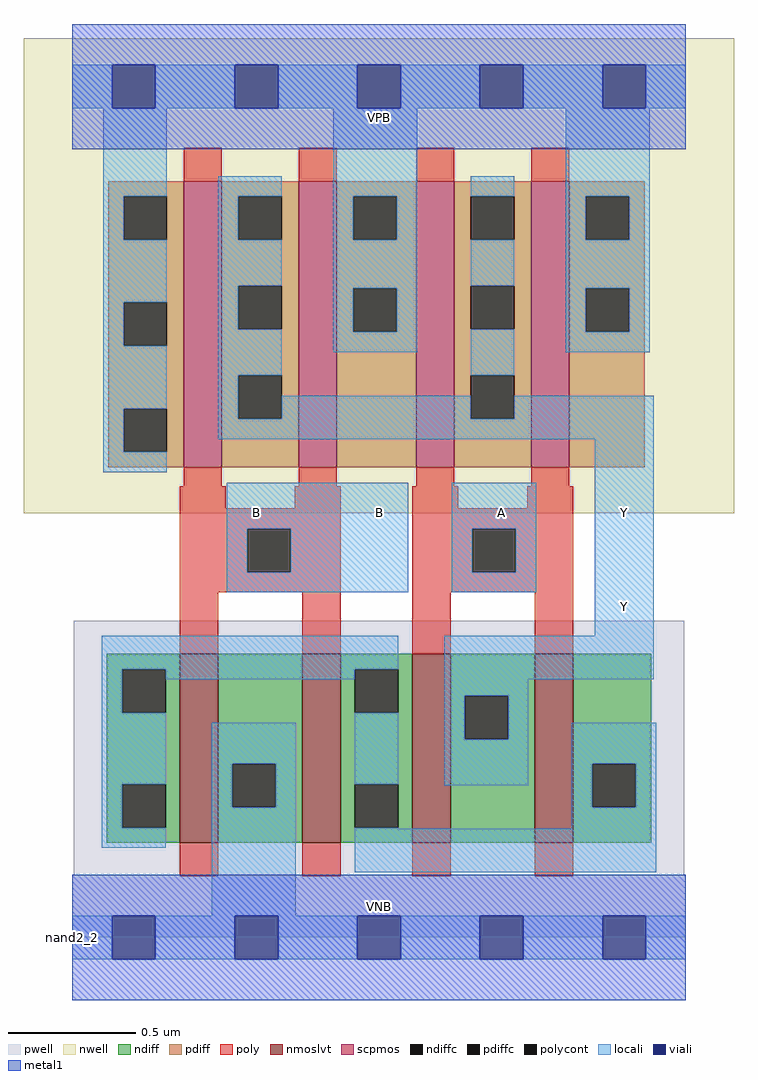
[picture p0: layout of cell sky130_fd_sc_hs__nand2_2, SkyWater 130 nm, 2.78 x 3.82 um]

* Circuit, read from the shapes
.subckt sky130_fd_sc_hs__nand2_2 A B VGND VNB VPB VPWR Y
XM1 VGND B n1 VNB sky130_fd_pr__nfet_01v8_lvt w=0.74 l=0.15 m=2
XM2 Y A n1 VNB sky130_fd_pr__nfet_01v8_lvt w=0.74 l=0.15 m=2
XM3 Y B VPWR VPB sky130_fd_pr__pfet_01v8 w=1.12 l=0.15 m=2
XM4 Y A VPWR VPB sky130_fd_pr__pfet_01v8 w=1.12 l=0.15 m=2
.ends

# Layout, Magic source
magic
tech sky130A
magscale 1 2
<< nwell >>
rect -38 332 518 704
<< pwell >>
rect 1 49 479 248
rect 0 0 480 49
<< scpmos >>
rect 87 368 117 592
rect 177 368 207 592
rect 269 368 299 592
rect 359 368 389 592
<< nmoslvt >>
rect 84 74 114 222
rect 180 74 210 222
rect 266 74 296 222
rect 362 74 392 222
<< ndiff >>
rect 27 210 84 222
rect 27 176 39 210
rect 73 176 84 210
rect 27 120 84 176
rect 27 86 39 120
rect 73 86 84 120
rect 27 74 84 86
rect 114 136 180 222
rect 114 102 125 136
rect 159 102 180 136
rect 114 74 180 102
rect 210 210 266 222
rect 210 176 221 210
rect 255 176 266 210
rect 210 120 266 176
rect 210 86 221 120
rect 255 86 266 120
rect 210 74 266 86
rect 296 189 362 222
rect 296 155 307 189
rect 341 155 362 189
rect 296 74 362 155
rect 392 136 453 222
rect 392 102 407 136
rect 441 102 453 136
rect 392 74 453 102
<< pdiff >>
rect 28 580 87 592
rect 28 546 40 580
rect 74 546 87 580
rect 28 497 87 546
rect 28 463 40 497
rect 74 463 87 497
rect 28 414 87 463
rect 28 380 40 414
rect 74 380 87 414
rect 28 368 87 380
rect 117 580 177 592
rect 117 546 130 580
rect 164 546 177 580
rect 117 510 177 546
rect 117 476 130 510
rect 164 476 177 510
rect 117 440 177 476
rect 117 406 130 440
rect 164 406 177 440
rect 117 368 177 406
rect 207 580 269 592
rect 207 546 220 580
rect 254 546 269 580
rect 207 508 269 546
rect 207 474 220 508
rect 254 474 269 508
rect 207 368 269 474
rect 299 580 359 592
rect 299 546 312 580
rect 346 546 359 580
rect 299 510 359 546
rect 299 476 312 510
rect 346 476 359 510
rect 299 440 359 476
rect 299 406 312 440
rect 346 406 359 440
rect 299 368 359 406
rect 389 580 448 592
rect 389 546 402 580
rect 436 546 448 580
rect 389 508 448 546
rect 389 474 402 508
rect 436 474 448 508
rect 389 368 448 474
<< ndiffc >>
rect 39 176 73 210
rect 39 86 73 120
rect 125 102 159 136
rect 221 176 255 210
rect 221 86 255 120
rect 307 155 341 189
rect 407 102 441 136
<< pdiffc >>
rect 40 546 74 580
rect 40 463 74 497
rect 40 380 74 414
rect 130 546 164 580
rect 130 476 164 510
rect 130 406 164 440
rect 220 546 254 580
rect 220 474 254 508
rect 312 546 346 580
rect 312 476 346 510
rect 312 406 346 440
rect 402 546 436 580
rect 402 474 436 508
<< poly >>
rect 87 592 117 618
rect 177 592 207 618
rect 269 592 299 618
rect 359 592 389 618
rect 87 353 117 368
rect 177 353 207 368
rect 269 353 299 368
rect 359 353 389 368
rect 84 336 120 353
rect 174 336 210 353
rect 84 320 210 336
rect 84 286 137 320
rect 171 286 210 320
rect 84 270 210 286
rect 84 222 114 270
rect 180 222 210 270
rect 266 336 302 353
rect 356 336 392 353
rect 266 320 392 336
rect 266 286 313 320
rect 347 286 392 320
rect 266 270 392 286
rect 266 222 296 270
rect 362 222 392 270
rect 84 48 114 74
rect 180 48 210 74
rect 266 48 296 74
rect 362 48 392 74
<< polycont >>
rect 137 286 171 320
rect 313 286 347 320
<< locali >>
rect 0 649 31 683
rect 65 649 127 683
rect 161 649 223 683
rect 257 649 319 683
rect 353 649 415 683
rect 449 649 480 683
rect 24 580 74 649
rect 24 546 40 580
rect 24 497 74 546
rect 24 463 40 497
rect 24 414 74 463
rect 24 380 40 414
rect 114 580 164 596
rect 114 546 130 580
rect 114 510 164 546
rect 114 476 130 510
rect 114 440 164 476
rect 204 580 270 649
rect 204 546 220 580
rect 254 546 270 580
rect 204 508 270 546
rect 204 474 220 508
rect 254 474 270 508
rect 204 458 270 474
rect 312 580 346 596
rect 312 510 346 546
rect 114 406 130 440
rect 312 440 346 476
rect 386 580 452 649
rect 386 546 402 580
rect 436 546 452 580
rect 386 508 452 546
rect 386 474 402 508
rect 436 474 452 508
rect 386 458 452 474
rect 164 406 312 424
rect 346 406 455 424
rect 114 390 455 406
rect 24 364 74 380
rect 121 320 263 356
rect 121 286 137 320
rect 171 286 263 320
rect 121 270 263 286
rect 297 320 363 356
rect 297 286 313 320
rect 347 286 363 320
rect 297 270 363 286
rect 409 236 455 390
rect 23 210 255 236
rect 23 176 39 210
rect 73 202 221 210
rect 23 120 73 176
rect 23 86 39 120
rect 23 70 73 86
rect 109 136 175 168
rect 109 102 125 136
rect 159 102 175 136
rect 109 17 175 102
rect 221 120 255 176
rect 291 202 455 236
rect 291 189 357 202
rect 291 155 307 189
rect 341 155 357 189
rect 291 119 357 155
rect 391 136 457 168
rect 221 85 255 86
rect 391 102 407 136
rect 441 102 457 136
rect 391 85 457 102
rect 221 51 457 85
rect 0 -17 31 17
rect 65 -17 127 17
rect 161 -17 223 17
rect 257 -17 319 17
rect 353 -17 415 17
rect 449 -17 480 17
<< viali >>
rect 31 649 65 683
rect 127 649 161 683
rect 223 649 257 683
rect 319 649 353 683
rect 415 649 449 683
rect 31 -17 65 17
rect 127 -17 161 17
rect 223 -17 257 17
rect 319 -17 353 17
rect 415 -17 449 17
<< metal1 >>
rect 0 683 480 715
rect 0 649 31 683
rect 65 649 127 683
rect 161 649 223 683
rect 257 649 319 683
rect 353 649 415 683
rect 449 649 480 683
rect 0 617 480 649
rect 0 17 480 49
rect 0 -17 31 17
rect 65 -17 127 17
rect 161 -17 223 17
rect 257 -17 319 17
rect 353 -17 415 17
rect 449 -17 480 17
rect 0 -49 480 -17
<< labels >>
rlabel comment s 0 0 0 0 4 nand2_2
flabel pwell s 0 0 480 49 0 FreeSans 200 0 0 0 VNB
port 4 nsew ground bidirectional
flabel nwell s 0 617 480 666 0 FreeSans 200 0 0 0 VPB
port 5 nsew power bidirectional
flabel metal1 s 0 617 480 666 0 FreeSans 340 0 0 0 VPWR
port 6 nsew power bidirectional
flabel metal1 s 0 0 480 49 0 FreeSans 340 0 0 0 VGND
port 3 nsew ground bidirectional
flabel locali s 415 242 449 276 0 FreeSans 340 0 0 0 Y
port 7 nsew signal output
flabel locali s 415 316 449 350 0 FreeSans 340 0 0 0 Y
port 7 nsew signal output
flabel locali s 127 316 161 350 0 FreeSans 340 0 0 0 B
port 2 nsew signal input
flabel locali s 223 316 257 350 0 FreeSans 340 0 0 0 B
port 2 nsew signal input
flabel locali s 319 316 353 350 0 FreeSans 340 0 0 0 A
port 1 nsew signal input
<< properties >>
string LEFsite unit
string LEFclass CORE
string FIXED_BBOX 0 0 480 666
string GDS_FILE $PDKPATH/libs.ref/sky130_fd_sc_hs/gds/sky130_fd_sc_hs.gds
string LEFsymmetry X Y
string GDS_END 3818446
string GDS_START 3813354
<< end >>
